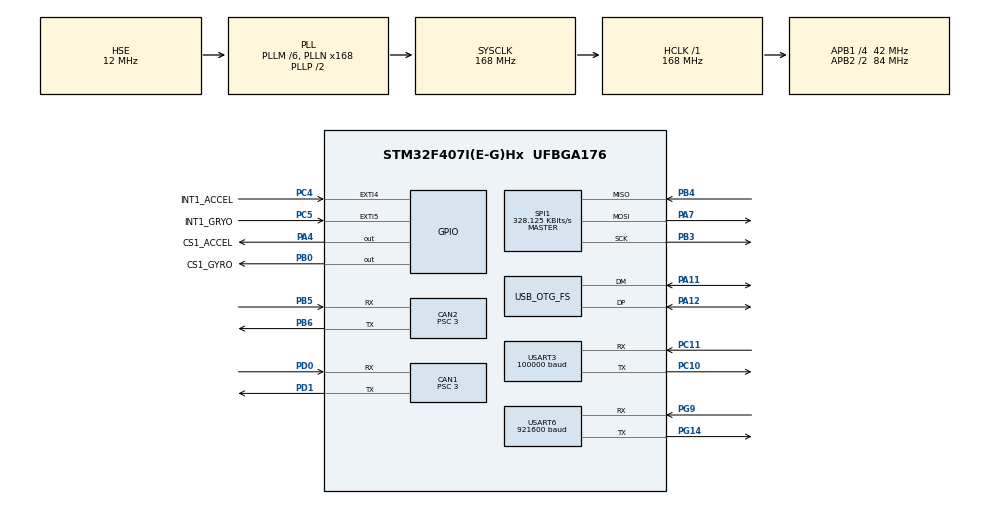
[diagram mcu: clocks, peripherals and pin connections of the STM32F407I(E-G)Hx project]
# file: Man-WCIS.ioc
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CAN1.ABOM=ENABLE
CAN1.AWUM=ENABLE
CAN1.BS1=CAN_BS1_9TQ
CAN1.BS2=CAN_BS2_4TQ
CAN1.CalculateBaudRate=1000000
CAN1.CalculateTimeBit=1000
CAN1.CalculateTimeQuantum=71.42857142857143
CAN1.Prescaler=3
CAN2.ABOM=ENABLE
CAN2.AWUM=ENABLE
CAN2.BS1=CAN_BS1_9TQ
CAN2.BS2=CAN_BS2_4TQ
CAN2.CalculateBaudRate=1000000
CAN2.CalculateTimeBit=1000
CAN2.CalculateTimeQuantum=71.42857142857143
CAN2.Prescaler=3
Dma.Request0=SPI1_RX
Dma.Request1=SPI1_TX
Dma.Request2=USART3_RX
Dma.Request3=USART6_RX
Dma.Request4=USART6_TX
Dma.SPI1_RX.0.Direction=DMA_PERIPH_TO_MEMORY
Dma.SPI1_RX.0.FIFOMode=DMA_FIFOMODE_DISABLE
Dma.SPI1_RX.0.Instance=DMA2_Stream2
Dma.SPI1_RX.0.MemDataAlignment=DMA_MDATAALIGN_BYTE
Dma.SPI1_RX.0.MemInc=DMA_MINC_ENABLE
Dma.SPI1_RX.0.Mode=DMA_NORMAL
Dma.SPI1_RX.0.PeriphDataAlignment=DMA_PDATAALIGN_BYTE
Dma.SPI1_RX.0.PeriphInc=DMA_PINC_DISABLE
Dma.SPI1_RX.0.Priority=DMA_PRIORITY_VERY_HIGH
Dma.SPI1_TX.1.Direction=DMA_MEMORY_TO_PERIPH
Dma.SPI1_TX.1.FIFOMode=DMA_FIFOMODE_DISABLE
Dma.SPI1_TX.1.Instance=DMA2_Stream3
Dma.SPI1_TX.1.MemDataAlignment=DMA_MDATAALIGN_BYTE
Dma.SPI1_TX.1.MemInc=DMA_MINC_ENABLE
Dma.SPI1_TX.1.Mode=DMA_NORMAL
Dma.SPI1_TX.1.PeriphDataAlignment=DMA_PDATAALIGN_BYTE
Dma.SPI1_TX.1.PeriphInc=DMA_PINC_DISABLE
Dma.SPI1_TX.1.Priority=DMA_PRIORITY_HIGH
Dma.USART3_RX.2.Direction=DMA_PERIPH_TO_MEMORY
Dma.USART3_RX.2.FIFOMode=DMA_FIFOMODE_DISABLE
Dma.USART3_RX.2.Instance=DMA1_Stream1
Dma.USART3_RX.2.MemDataAlignment=DMA_MDATAALIGN_BYTE
Dma.USART3_RX.2.MemInc=DMA_MINC_ENABLE
Dma.USART3_RX.2.Mode=DMA_NORMAL
Dma.USART3_RX.2.PeriphDataAlignment=DMA_PDATAALIGN_BYTE
Dma.USART3_RX.2.PeriphInc=DMA_PINC_DISABLE
Dma.USART3_RX.2.Priority=DMA_PRIORITY_LOW
Dma.USART6_RX.3.Direction=DMA_PERIPH_TO_MEMORY
Dma.USART6_RX.3.FIFOMode=DMA_FIFOMODE_DISABLE
Dma.USART6_RX.3.Instance=DMA2_Stream1
Dma.USART6_RX.3.MemDataAlignment=DMA_MDATAALIGN_BYTE
Dma.USART6_RX.3.MemInc=DMA_MINC_ENABLE
Dma.USART6_RX.3.Mode=DMA_NORMAL
Dma.USART6_RX.3.PeriphDataAlignment=DMA_PDATAALIGN_BYTE
Dma.USART6_RX.3.PeriphInc=DMA_PINC_DISABLE
Dma.USART6_RX.3.Priority=DMA_PRIORITY_HIGH
Dma.USART6_TX.4.Direction=DMA_MEMORY_TO_PERIPH
Dma.USART6_TX.4.FIFOMode=DMA_FIFOMODE_DISABLE
Dma.USART6_TX.4.Instance=DMA2_Stream6
Dma.USART6_TX.4.MemDataAlignment=DMA_MDATAALIGN_BYTE
Dma.USART6_TX.4.MemInc=DMA_MINC_ENABLE
Dma.USART6_TX.4.Mode=DMA_NORMAL
Dma.USART6_TX.4.PeriphDataAlignment=DMA_PDATAALIGN_BYTE
Dma.USART6_TX.4.PeriphInc=DMA_PINC_DISABLE
Dma.USART6_TX.4.Priority=DMA_PRIORITY_HIGH
FREERTOS.Tasks01=INS_task,2,256,Start_INS_Task,As weak,NULL,Dynamic,NULL,NULL;Gimbal_Task,0,256,Gimbal_Control,As weak,NULL,Dynamic,NULL,NULL;Shoot_Task,-2,256,Shoot_Control,As weak,NULL,Dynamic,NULL,NULL;Vision_Task,3,256,Vision_Control,As weak,NULL,Dynamic,NULL,NULL
FREERTOS.configMINIMAL_STACK_SIZE=256
Mcu.Family=STM32F4
Mcu.Name=STM32F407I(E-G)Hx
Mcu.Package=UFBGA176
NVIC.CAN1_RX0_IRQn=true\:5\:0\:false\:false\:true\:true\:true\:true\:true
NVIC.CAN1_TX_IRQn=true\:5\:0\:false\:false\:true\:true\:true\:true\:true
NVIC.CAN2_RX0_IRQn=true\:5\:0\:false\:false\:true\:true\:true\:true\:true
NVIC.CAN2_TX_IRQn=true\:5\:0\:false\:false\:true\:true\:true\:true\:true
NVIC.DMA1_Stream1_IRQn=true\:5\:0\:false\:false\:true\:true\:false\:true\:true
NVIC.DMA2_Stream1_IRQn=true\:5\:0\:false\:false\:true\:true\:false\:true\:true
NVIC.DMA2_Stream2_IRQn=true\:5\:0\:false\:false\:true\:false\:false\:true\:true
NVIC.DMA2_Stream3_IRQn=true\:5\:0\:false\:false\:true\:true\:false\:true\:true
NVIC.DMA2_Stream6_IRQn=true\:5\:0\:false\:false\:true\:true\:false\:true\:true
NVIC.EXTI4_IRQn=true\:5\:0\:false\:false\:true\:false\:true\:true\:true
NVIC.EXTI9_5_IRQn=true\:5\:0\:false\:false\:true\:false\:true\:true\:true
NVIC.OTG_FS_IRQn=true\:5\:0\:false\:false\:true\:true\:false\:true\:true
NVIC.PriorityGroup=NVIC_PRIORITYGROUP_4
NVIC.TIM2_IRQn=true\:5\:0\:false\:false\:true\:true\:true\:true\:true
NVIC.TIM6_DAC_IRQn=true\:5\:0\:false\:false\:true\:true\:true\:true\:true
NVIC.USART6_IRQn=true\:5\:0\:false\:false\:true\:true\:true\:true\:true
PA11.Mode=Device_Only
PA11.Signal=USB_OTG_FS_DM
PA12.Mode=Device_Only
PA12.Signal=USB_OTG_FS_DP
PA13.Mode=Serial_Wire
PA13.Signal=SYS_JTMS-SWDIO
PA14.Mode=Serial_Wire
PA14.Signal=SYS_JTCK-SWCLK
PA4.GPIO_Label=CS1_ACCEL
PA4.GPIO_PuPd=GPIO_PULLUP
PA4.GPIO_Speed=GPIO_SPEED_FREQ_HIGH
PA4.PinState=GPIO_PIN_SET
PA4.Signal=GPIO_Output
PA7.Mode=Full_Duplex_Master
PA7.Signal=SPI1_MOSI
PB0.GPIO_Label=CS1_GYRO
PB0.GPIO_PuPd=GPIO_PULLUP
PB0.GPIO_Speed=GPIO_SPEED_FREQ_HIGH
PB0.PinState=GPIO_PIN_SET
PB0.Signal=GPIO_Output
PB3.Mode=Full_Duplex_Master
PB3.Signal=SPI1_SCK
PB4.Mode=Full_Duplex_Master
PB4.Signal=SPI1_MISO
PB5.Mode=CAN_Activate
PB5.Signal=CAN2_RX
PB6.Mode=CAN_Activate
PB6.Signal=CAN2_TX
PC10.Mode=Asynchronous
PC10.Signal=USART3_TX
PC11.Mode=Asynchronous
PC11.Signal=USART3_RX
PC14-OSC32_IN.Mode=LSE-External-Oscillator
PC14-OSC32_IN.Signal=RCC_OSC32_IN
PC15-OSC32_OUT.Mode=LSE-External-Oscillator
PC15-OSC32_OUT.Signal=RCC_OSC32_OUT
PC4.GPIO_Label=INT1_ACCEL
PC4.GPIO_PuPd=GPIO_PULLUP
PC4.Signal=GPXTI4
PC5.GPIO_Label=INT1_GRYO
PC5.GPIO_PuPd=GPIO_PULLUP
PC5.Signal=GPXTI5
PD0.Mode=CAN_Activate
PD0.Signal=CAN1_RX
PD1.Mode=CAN_Activate
PD1.Signal=CAN1_TX
PG14.Mode=Asynchronous
PG14.Signal=USART6_TX
PG9.Mode=Asynchronous
PG9.Signal=USART6_RX
PH0-OSC_IN.Mode=HSE-External-Oscillator
PH0-OSC_IN.Signal=RCC_OSC_IN
PH1-OSC_OUT.Mode=HSE-External-Oscillator
PH1-OSC_OUT.Signal=RCC_OSC_OUT
ProjectManager.HeapSize=0x200
ProjectManager.StackSize=0x400
ProjectManager.TargetToolchain=MDK-ARM V5.32
RCC.48MHZClocksFreq_Value=48000000
RCC.AHBFreq_Value=168000000
RCC.APB1CLKDivider=RCC_HCLK_DIV4
RCC.APB1Freq_Value=42000000
RCC.APB1TimFreq_Value=84000000
RCC.APB2CLKDivider=RCC_HCLK_DIV2
RCC.APB2Freq_Value=84000000
RCC.APB2TimFreq_Value=168000000
RCC.CortexFreq_Value=168000000
RCC.HCLKFreq_Value=168000000
RCC.HSE_VALUE=12000000
RCC.HSI_VALUE=16000000
RCC.PLLM=6
RCC.PLLN=168
RCC.PLLQ=7
RCC.SYSCLKFreq_VALUE=168000000
RCC.SYSCLKSource=RCC_SYSCLKSOURCE_PLLCLK
RCC.VCOOutputFreq_Value=336000000
SPI1.BaudRatePrescaler=SPI_BAUDRATEPRESCALER_256
SPI1.CLKPhase=SPI_PHASE_2EDGE
SPI1.CLKPolarity=SPI_POLARITY_HIGH
SPI1.CalculateBaudRate=328.125 KBits/s
SPI1.Direction=SPI_DIRECTION_2LINES
SPI1.Mode=SPI_MODE_MASTER
SPI1.VirtualType=VM_MASTER
TIM2.AutoReloadPreload=TIM_AUTORELOAD_PRELOAD_ENABLE
TIM2.Period=9999
TIM2.Prescaler=8399
TIM6.Period=999
TIM6.Prescaler=839
USART3.BaudRate=100000
USART3.VirtualMode=VM_ASYNC
USART6.BaudRate=921600
USART6.VirtualMode=VM_ASYNC
USB_DEVICE.CLASS_NAME_FS=CDC
USB_DEVICE.VirtualMode-CDC_FS=Cdc
USB_DEVICE.VirtualModeFS=Cdc_FS
USB_OTG_FS.VirtualMode=Device_Only
VP_FREERTOS_VS_CMSIS_V1.Mode=CMSIS_V1
VP_TIM2_VS_ClockSourceINT.Mode=Internal
VP_TIM6_VS_ClockSourceINT.Mode=Enable_Timer
VP_USB_DEVICE_VS_USB_DEVICE_CDC_FS.Mode=CDC_FS
board=custom

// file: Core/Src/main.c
/* USER CODE BEGIN Header */
/**
  ******************************************************************************
  * @file           : main.c
  * @brief          : Main program body
  ******************************************************************************
  * @attention
  *
  * Copyright (c) 2024 STMicroelectronics.
  * All rights reserved.
  *
  * This software is licensed under terms that can be found in the LICENSE file
  * in the root directory of this software component.
  * If no LICENSE file comes with this software, it is provided AS-IS.
  *
  ******************************************************************************
  */
/* USER CODE END Header */
#include "main.h"
#include "cmsis_os.h"
#include "can.h"
#include "dma.h"
#include "spi.h"
#include "tim.h"
#include "usart.h"
#include "usb_device.h"
#include "gpio.h"

/* USER CODE BEGIN Includes */
//#include "bsp_uart.h"
/* USER CODE END Includes */

/* USER CODE BEGIN PD */
extern DMA_HandleTypeDef hdma_usart3_rx;
u8 dbus_recieve_1[36],dbus_recieve_2[36];
/* USER CODE END PD */

void SystemClock_Config(void);
void MX_FREERTOS_Init(void);
/* USER CODE BEGIN PFP */
uint8_t YiNianTongTian;
/* USER CODE END PFP */

/* USER CODE BEGIN 0 */
uint32_t wait_time = 0;
uint32_t first_wait_time = 0;
uint8_t begain_flag = 0;
/* USER CODE END 0 */

int main(void)
{

  /* MCU Configuration--------------------------------------------------------*/

  /* Reset of all peripherals, Initializes the Flash interface and the Systick. */
  HAL_Init();

  /* Configure the system clock */
  SystemClock_Config();

  /* Initialize all configured peripherals */
  MX_GPIO_Init();
  MX_DMA_Init();
  MX_SPI1_Init();
  MX_CAN1_Init();
  MX_CAN2_Init();
  MX_USART3_UART_Init();
  MX_TIM6_Init();
  MX_USART6_UART_Init();
  MX_TIM2_Init();
  /* USER CODE BEGIN 2 */
   tele_link_init();
  HAL_TIM_Base_Start_IT(&htim6);
	can_filter_init();
	HAL_CAN_ActivateNotification(&hcan1, CAN_IT_RX_FIFO0_MSG_PENDING);              //CAN�ж�ʹ��
	HAL_CAN_ActivateNotification(&hcan2, CAN_IT_RX_FIFO0_MSG_PENDING);

	HAL_NVIC_SetPriority(USART3_IRQn, 5, 0);
	HAL_NVIC_EnableIRQ(USART3_IRQn);
	SET_BIT(huart3.Instance->CR3, USART_CR3_DMAR);
	__HAL_UART_ENABLE_IT(&huart3, UART_IT_IDLE);//���������ж�
	__HAL_DMA_DISABLE(&hdma_usart3_rx);  //ʧ��DMA,�������?
	while(hdma_usart3_rx.Instance->CR & DMA_SxCR_EN)
	{
			__HAL_DMA_DISABLE(&hdma_usart3_rx);
	}
	__HAL_DMA_CLEAR_FLAG(&hdma_usart3_rx, DMA_LISR_TCIF1);
	hdma_usart3_rx.Instance->PAR = (uint32_t) & (USART3->DR);
	hdma_usart3_rx.Instance->M0AR = (uint32_t)(dbus_recieve_1);
	hdma_usart3_rx.Instance->M1AR = (uint32_t)(dbus_recieve_2);
	__HAL_DMA_SET_COUNTER(&hdma_usart3_rx, 36u);
	SET_BIT(hdma_usart3_rx.Instance->CR, DMA_SxCR_DBM);
	__HAL_DMA_ENABLE(&hdma_usart3_rx);

  YiNianTongTian=BMI088_init();
  while(YiNianTongTian)
  {
	  YiNianTongTian=BMI088_init();
  }
  Read_Offset();
  MX_USB_DEVICE_Init();
	HAL_TIM_Base_Start_IT(&htim2);
  /* USER CODE END 2 */

  /* Call init function for freertos objects (in cmsis_os2.c) */
  MX_FREERTOS_Init();

  /* Start scheduler */
  osKernelStart();

  /* We should never get here as control is now taken by the scheduler */

  /* Infinite loop */
  while (1)
  {

  }
}

void SystemClock_Config(void)
{
  RCC_OscInitTypeDef RCC_OscInitStruct = {0};
  RCC_ClkInitTypeDef RCC_ClkInitStruct = {0};

  /** Configure the main internal regulator output voltage
  */
  __HAL_RCC_PWR_CLK_ENABLE();
  __HAL_PWR_VOLTAGESCALING_CONFIG(PWR_REGULATOR_VOLTAGE_SCALE1);

  /** Initializes the RCC Oscillators according to the specified parameters
  * in the RCC_OscInitTypeDef structure.
  */
  RCC_OscInitStruct.OscillatorType = RCC_OSCILLATORTYPE_HSE;
  RCC_OscInitStruct.HSEState = RCC_HSE_ON;
  RCC_OscInitStruct.PLL.PLLState = RCC_PLL_ON;
  RCC_OscInitStruct.PLL.PLLSource = RCC_PLLSOURCE_HSE;
  RCC_OscInitStruct.PLL.PLLM = 6;
  RCC_OscInitStruct.PLL.PLLN = 168;
  RCC_OscInitStruct.PLL.PLLP = RCC_PLLP_DIV2;
  RCC_OscInitStruct.PLL.PLLQ = 7;
  if (HAL_RCC_OscConfig(&RCC_OscInitStruct) != HAL_OK)
  {
    Error_Handler();
  }

  /** Initializes the CPU, AHB and APB buses clocks
  */
  RCC_ClkInitStruct.ClockType = RCC_CLOCKTYPE_HCLK|RCC_CLOCKTYPE_SYSCLK
                              |RCC_CLOCKTYPE_PCLK1|RCC_CLOCKTYPE_PCLK2;
  RCC_ClkInitStruct.SYSCLKSource = RCC_SYSCLKSOURCE_PLLCLK;
  RCC_ClkInitStruct.AHBCLKDivider = RCC_SYSCLK_DIV1;
  RCC_ClkInitStruct.APB1CLKDivider = RCC_HCLK_DIV4;
  RCC_ClkInitStruct.APB2CLKDivider = RCC_HCLK_DIV2;

  if (HAL_RCC_ClockConfig(&RCC_ClkInitStruct, FLASH_LATENCY_5) != HAL_OK)
  {
    Error_Handler();
  }
}

/* USER CODE BEGIN 4 */

void Women_WCIS(Slow *wrr)
{
	wrr->Err=wrr->Set - wrr->Last;
	if(wrr->Err>0)
	{
		wrr->Out += (wrr->Err)/35;
		if(wrr->Out >= wrr->Set)
		{
			wrr->Out = wrr->Set;
			wrr->Last = wrr->Set;
		}
	}
	else if(wrr->Err <0)
	{
		wrr->Out+=wrr->Err/20;
		if(wrr->Out <= wrr->Set)
		{
			wrr->Out = wrr->Set;
			wrr->Last = wrr->Set;
		}
	}
}
void HAL_TIM_PeriodElapsedCallback(TIM_HandleTypeDef *htim)//100ms
{
	if(htim->Instance == htim6.Instance)
	{
		Women_WCIS(&S_W);
	}

if (htim->Instance == TIM2)
    {
        if(begain_flag)
					wait_time ++;
				else
					wait_time = 0;
    }
}

/* USER CODE END 4 */

void Error_Handler(void)
{
  __disable_irq();
  while (1)
  {
  }
}

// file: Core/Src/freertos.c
/* USER CODE BEGIN Header */
/**
  ******************************************************************************
  * File Name          : freertos.c
  * Description        : Code for freertos applications
  ******************************************************************************
  * @attention
  *
  * Copyright (c) 2024 STMicroelectronics.
  * All rights reserved.
  *
  * This software is licensed under terms that can be found in the LICENSE file
  * in the root directory of this software component.
  * If no LICENSE file comes with this software, it is provided AS-IS.
  *
  ******************************************************************************
  */
/* USER CODE END Header */

#include "FreeRTOS.h"
#include "task.h"
#include "main.h"
#include "cmsis_os.h"

osThreadId INS_taskHandle;
osThreadId Gimbal_TaskHandle;
osThreadId Shoot_TaskHandle;
osThreadId Vision_TaskHandle;

void Start_INS_Task(void const * argument);
void Gimbal_Control(void const * argument);
void Shoot_Control(void const * argument);
void Vision_Control(void const * argument);

extern void MX_USB_DEVICE_Init(void);
void MX_FREERTOS_Init(void); /* (MISRA C 2004 rule 8.1) */

/* GetIdleTaskMemory prototype (linked to static allocation support) */
void vApplicationGetIdleTaskMemory( StaticTask_t **ppxIdleTaskTCBBuffer, StackType_t **ppxIdleTaskStackBuffer, uint32_t *pulIdleTaskStackSize );

/* USER CODE BEGIN GET_IDLE_TASK_MEMORY */
static StaticTask_t xIdleTaskTCBBuffer;
static StackType_t xIdleStack[configMINIMAL_STACK_SIZE];

void vApplicationGetIdleTaskMemory( StaticTask_t **ppxIdleTaskTCBBuffer, StackType_t **ppxIdleTaskStackBuffer, uint32_t *pulIdleTaskStackSize )
{
  *ppxIdleTaskTCBBuffer = &xIdleTaskTCBBuffer;
  *ppxIdleTaskStackBuffer = &xIdleStack[0];
  *pulIdleTaskStackSize = configMINIMAL_STACK_SIZE;
  /* place for user code */
}
/* USER CODE END GET_IDLE_TASK_MEMORY */

void MX_FREERTOS_Init(void) {

  /* Create the thread(s) */
  /* definition and creation of INS_task */
  osThreadDef(INS_task, Start_INS_Task, osPriorityHigh, 0, 256);
  INS_taskHandle = osThreadCreate(osThread(INS_task), NULL);

  /* definition and creation of Gimbal_Task */
  osThreadDef(Gimbal_Task, Gimbal_Control, osPriorityNormal, 0, 256);
  Gimbal_TaskHandle = osThreadCreate(osThread(Gimbal_Task), NULL);

  /* definition and creation of Shoot_Task */
  osThreadDef(Shoot_Task, Shoot_Control, osPriorityLow, 0, 256);
  Shoot_TaskHandle = osThreadCreate(osThread(Shoot_Task), NULL);

  /* definition and creation of Vision_Task */
  osThreadDef(Vision_Task, Vision_Control, osPriorityRealtime, 0, 256);
  Vision_TaskHandle = osThreadCreate(osThread(Vision_Task), NULL);

}

__weak void Start_INS_Task(void const * argument)
{
  /* init code for USB_DEVICE */
  MX_USB_DEVICE_Init();
  for(;;)
  {
    osDelay(1);
  }
}

__weak void Gimbal_Control(void const * argument)
{
  for(;;)
  {
    osDelay(1);
  }
}

__weak void Shoot_Control(void const * argument)
{
  for(;;)
  {
    osDelay(1);
  }
}

__weak void Vision_Control(void const * argument)
{
  for(;;)
  {
    osDelay(1);
  }
}
